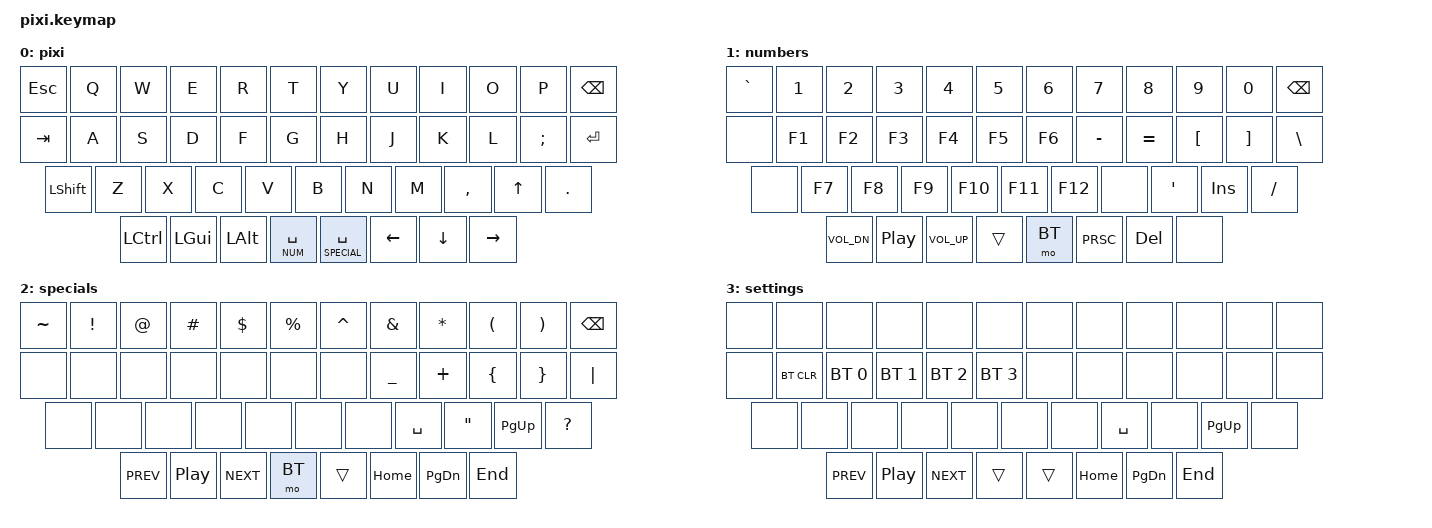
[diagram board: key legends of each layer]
#include <behaviors.dtsi>
#include <dt-bindings/zmk/keys.h>
#include <dt-bindings/zmk/bt.h>

#define DEFAULT 0
#define NUM     1
#define SPECIAL 2
#define BT      3


/ {
	keymap {
		compatible = "zmk,keymap";

		default_layer {
// ------------------------------------------------------------------------------------------
// | ESC  |  Q  |  W  |  E  |  R  |  T  |  Y  |  U  |  I  |  O  |  P  |  BKSP  |
// |  TAB  |  A  |  S  |  D  |  F  |  G  |  H  |  J  |  K  |  L  |  ;  | ENTER |
// |  SHIFT  |  Z  |  X  |  C  |  V  |  B  |  N  |  M  |  ,  |  ^  |     .     |
//      | CTL | WIN | ALT |  SPACE/N_LAY | SPACE/S_LAY |  <- |  v  | ->  |
// ------------------------------------------------------------------------------------------
			label = "pixi";
			bindings = <
	&kp ESC  &kp   Q   &kp   W   &kp   E   &kp   R   &kp   T   &kp   Y   &kp   U   &kp   I   &kp   O   &kp   P     &kp BSPC
	&kp TAB   &kp   A   &kp   S   &kp   D   &kp   F   &kp   G   &kp   H   &kp   J   &kp   K   &kp   L   &kp  SEMI  &kp ENTER
	&kp LSHFT    &kp   Z   &kp   X   &kp   C   &kp   V   &kp   B   &kp   N   &kp   M   &kp  CMMA     &kp UP        &kp PERIOD
	    &kp LCTRL &kp LGUI &kp LALT       &lt NUM SPACE     &lt SPECIAL SPACE              &kp  LEFT &kp DOWN &kp  RIGHT		
			>;
		};

        num_layer {
// ------------------------------------------------------------------------------------------
// |   `  |  1  |  2  |  3  |  4  |  5  |  6  |  7  |  8  |  9  |  0  |   BKSP  |
// |       |  f1 |  f2 |  f3 |  f4 |  f5 |  f6 |  -  |  =  |  [  |  ]  |    \   |
// |         |  f7 |  f8 |  f9 | f10 | f11 | f12 |     |  '  | ins |     /     |
//      | VOL- | PLAY | VOL+ |           |   BT        |PRSC | del |     |
// ------------------------------------------------------------------------------------------
			label = "numbers";
			bindings = <
	&kp GRAVE  &kp N1    &kp N2    &kp N3    &kp N4     &kp N5     &kp N6     &kp N7      &kp N8    &kp N9     &kp N0      &kp BSPC
	&none       &kp   F1  &kp   F2  &kp  F3   &kp   F4   &kp   F5   &kp   F6   &kp  MINUS  &kp EQUAL &kp LBKT   &kp  RBKT  &kp BSLH
	&none          &kp  F7   &kp  F8   &kp  F9   &kp  F10   &kp  F11   &kp  F12   &none  &kp  QUOT &kp INS          &kp FSLH
	    &kp C_VOL_DN &kp C_PP &kp C_VOL_UP          &trans     &mo BT                      &kp  PRSC   &kp  DEL    &none		
			>;
		};

        special_layer {
// ------------------------------------------------------------------------------------------
// | TILD |  !   |  @  |  #  |  $  |  %  |  ^  |  &  |  *  |  (  |  )  |   BKSP  |
// |       |bt clr| bt 0 |bt 1 |bt 2 |bt 3 |     |  _  |  +  |  {  |  }  |   |   |
// |         |     |     |     |    |    |    | space |  "  | pgup |     ?     |
//      | VOL- | PLAY | VOL+ |     BT    |          |  home | pgdn | end  |
// ------------------------------------------------------------------------------------------
			label = "specials";
			bindings = <
	&kp TILDE  &kp EXCL &kp AT  &kp HASH &kp DLLR &kp PRCNT  &kp CARET &kp AMPS  &kp STAR   &kp LPAR     &kp RPAR      &kp BSPC
	&none &none &none &none &none &none  &none   &kp UNDER &kp PLUS &kp LBRC &kp RBRC &kp PIPE
	&none    &none   &none   &none   &none   &none   &none   &kp SPACE     &kp  DQT                 &kp PG_UP     &kp QMARK
	    &kp C_PREV &kp C_PP &kp C_NEXT           &mo BT     &trans                     &kp  HOME &kp  PG_DN &kp  END		
			>;
		};

		settings_layer {
// ------------------------------------------------------------------------------------------
// | TILD |  !   |  @  |  #  |  $  |  %  |  ^  |  &  |  *  |  (  |  )  |   BKSP  |
// |       |bt clr| bt 0 |bt 1 |bt 2 |bt 3 |     |  _  |  +  |  {  |  }  |   |   |
// |         |     |     |     |    |    |    | space |  "  | pgup |     ?     |
//      | VOL- | PLAY | VOL+ |           |   LAYER_3   |  home | pgdn | end  |
// ------------------------------------------------------------------------------------------
			label = "settings";
			bindings = <
	&none  &none &none  &none &none &none  &none &none  &none   &none     &none      &none
	&none &bt BT_CLR &bt BT_SEL 0 &bt BT_SEL 1 &bt BT_SEL 2 &bt BT_SEL 3  &none   &none &none &none &none &none
	&none    &none   &none   &none   &none   &none   &none   &kp SPACE     &none                 &kp PG_UP     &none
	    &kp C_PREV &kp C_PP &kp C_NEXT           &trans     &trans                     &kp  HOME &kp  PG_DN &kp  END		
			>;
		};
	};
};
